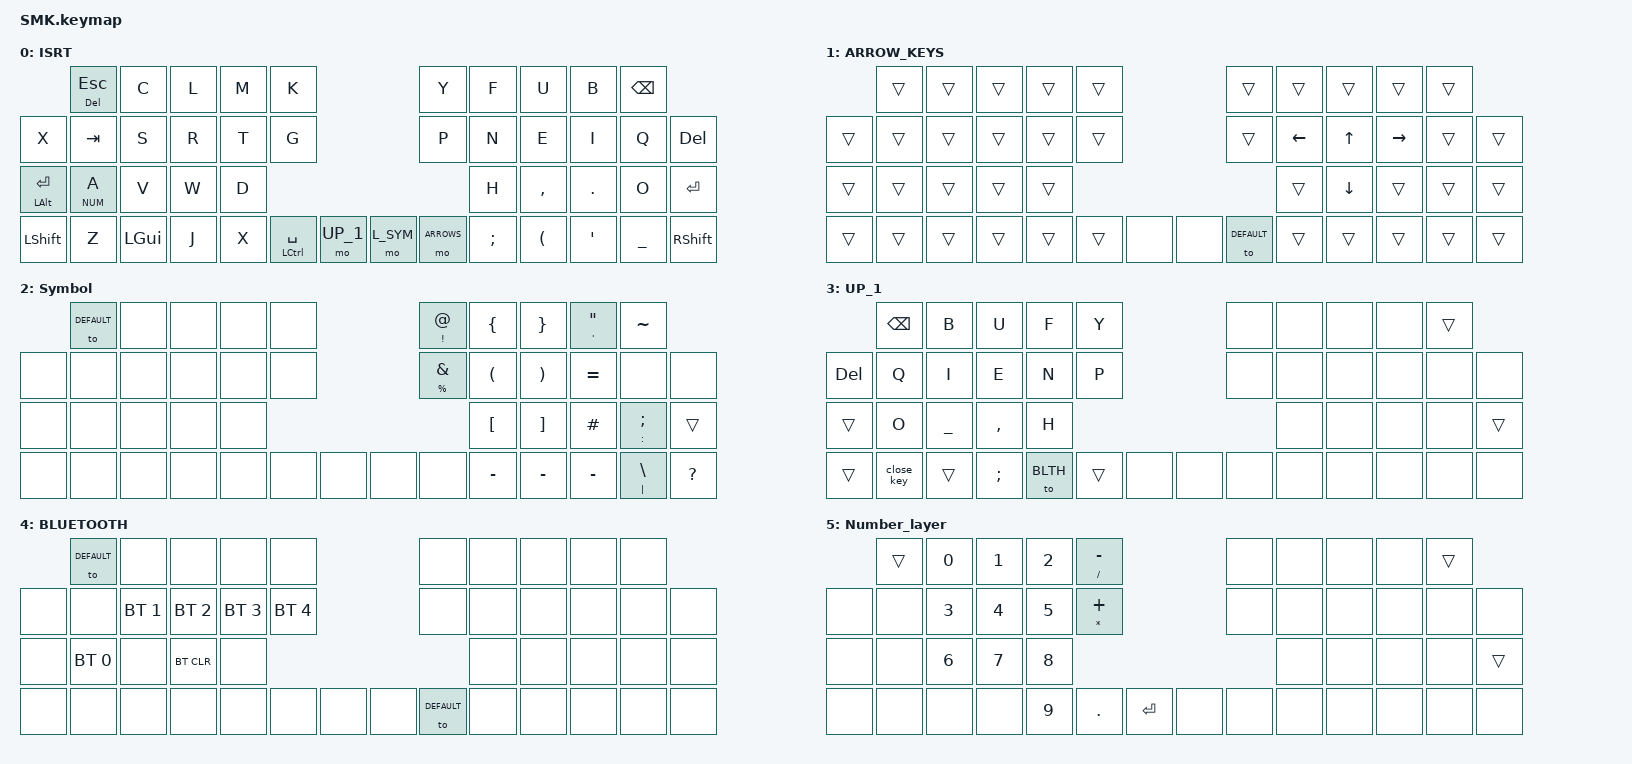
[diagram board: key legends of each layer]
#include <behaviors.dtsi>
#include <dt-bindings/zmk/keys.h>
#include <dt-bindings/zmk/bt.h>
#include <dt-bindings/zmk/mouse.h>
#include <dt-bindings/zmk/outputs.h>

#define DEFAULT 0
#define ARROWS 1
#define L_SYM 2
#define UP_1 3
#define BLTH 4
#define NUM 5

/ {
   behaviors {
      mth: my_tolayer_hold {
      compatible = "zmk,behavior-hold-tap";
      label = "MY_TO_LAYER_HOLD";
      #binding-cells = <2>;
      flavor = "hold-preferred";
      tapping-term-ms = <180>;
      quick-tap-ms = <150>;
      bindings = <&kp>, <&to>;
      };
   };
   macros {
      close_key: close_key {
          label = "Close key";
          compatible = "zmk,behavior-macro";
          #binding-cells = <0>;
          bindings
              = <&macro_press &kp LALT>
              , <&macro_tap &kp F4>
              , <&macro_release &kp LALT>;
      };
  };

   behaviors {
      mml: my_momentary_layer {
      compatible = "zmk,behavior-hold-tap";
      label = "MY_Momentary_layer";
      #binding-cells = <2>;
      flavor = "hold-preferred";
      tapping-term-ms = <200>;
      bindings = <&mo>, <&kp>;
      };
   };

   
   keymap {
      compatible = "zmk,keymap";

      default_layer {
         label = "ISRT";
         bindings = <   
                                 &mt DELETE ESC &kp C          &kp L       &kp M       &kp K                                    &kp Y          &kp F          &kp U      &kp B      &kp BACKSPACE     
            &kp X                &kp TAB        &kp S          &kp R       &kp T       &kp G                                    &kp P          &kp N          &kp E      &kp I      &kp Q            &kp DELETE
            &mt LEFT_ALT ENTER   &mml NUM A    &kp V          &kp W       &kp D                                                                &kp H          &kp COMMA  &kp DOT    &kp O            &kp ENTER
            &kp LSHIFT           &kp Z          &kp LEFT_GUI   &kp J       &kp X       &mt LCTRL SPACE &mo UP_1   &mo L_SYM    &mo ARROWS      &kp SEMICOLON  &kp LPAR   &kp SQT   &kp UNDER         &kp RSHIFT 
         >;
         trackball-bindings = <&tmv>;
      };

      arrow_keys {
         label = "ARROW_KEYS";
         bindings = <
                      &trans     &trans    &trans    &trans        &trans                               &trans    &trans       &trans    &trans     &trans  
            &trans    &trans     &trans    &trans    &trans        &trans                               &trans    &kp LEFT     &kp UP    &kp RIGHT  &trans   &trans
            &trans    &trans     &trans    &trans    &trans                                                       &trans       &kp DOWN  &trans     &trans   &trans
            &trans    &trans     &trans    &trans    &trans        &trans      &none    &none    &to DEFAULT      &trans       &trans    &trans     &trans   &trans  
         >;
         trackball-bindings = <&tmv>;

      };
      
      symbol_layer {
         label = "Symbol";
         bindings = <
                     &to DEFAULT   &none           &none        &none        &none                    &mt EXCL AT         &kp LBRC   &kp RBRC    &mt APOS DQT   &kp TILDE  
            &none    &none         &none           &none        &none        &none                    &mt PRCNT AMPS      &kp LPAR   &kp RPAR    &kp EQUAL      &none            &none 
            &none    &none         &none           &none        &none                                                     &kp LBKT   &kp RBKT    &kp HASH       &mt COLON SEMI   &trans 
            &none    &none         &none           &none        &none        &none      &none    &none       &none        &kp MINUS   &kp MINUS  &kp MINUS      &mt PIPE BSLH    &kp QMARK    
         >; 
         trackball-bindings = <&tmv>;

      };

      UPPER_LAYER_1 {
         label = "UP_1";
         bindings = <  
                       &kp BACKSPACE &kp B     &kp U         &kp F      &kp Y                       &none    &none    &none    &none    &trans  
            &kp DELETE &kp Q         &kp I     &kp E         &kp N      &kp P                       &none    &none    &none    &none    &none    &none
            &trans     &kp O         &kp UNDER &kp COMMA     &kp H                                                    &none    &none    &none    &none   &trans
            &trans     &close_key    &trans     &kp SEMICOLON &to BLTH   &trans          &none       &none    &none    &none    &none    &none    &none   &none  
         >;
         trackball-bindings = <&tmv>;

      };
      
      bluetooth_Layer {
         label = "BLUETOOTH";
         bindings = <
                     &to DEFAULT   &none           &none        &none        &none                               &none    &none    &none    &none     &none  
            &none    &none         &bt BT_SEL 1    &bt BT_SEL 2 &bt BT_SEL 3 &bt BT_SEL 4                        &none    &none    &none    &none     &none   &none
            &none    &bt BT_SEL 0  &none           &bt BT_CLR   &none                                                     &none    &none    &none     &none   &none
            &none    &none         &none           &none        &none        &none      &none    &none       &to DEFAULT  &none    &none    &none     &none   &none
         >;
         trackball-bindings = <&tmv>;
      };

      number_layer {
         label = "Number_layer";
         bindings = <
                     &trans   &kp N0    &kp N1     &kp N2      &mt FSLH MINUS                       &none    &none    &none    &none     &trans  
            &none    &none    &kp N3    &kp N4     &kp N5      &mt STAR PLUS                        &none    &none    &none    &none    &none   &none
            &none    &none    &kp N6    &kp N7     &kp N8                                                    &none    &none    &none    &none   &trans
            &none    &none    &none     &none      &kp N9     &kp DOT       &kp ENTER       &none        &none  &none    &none    &none    &none   &none  
         >;
         trackball-bindings = <&tmv>;
      };
   };
};
